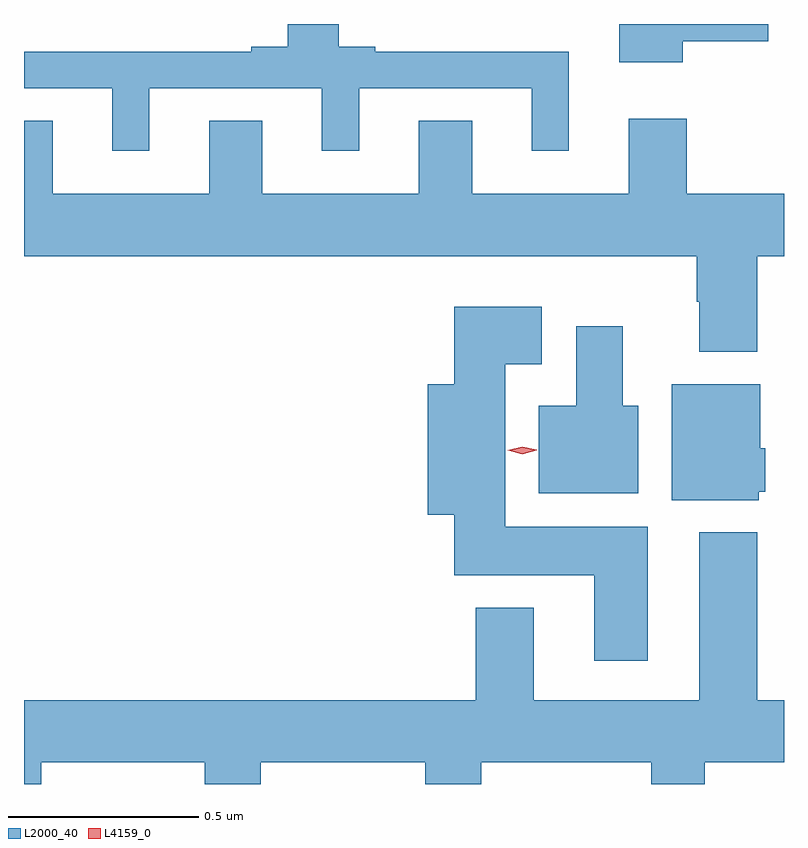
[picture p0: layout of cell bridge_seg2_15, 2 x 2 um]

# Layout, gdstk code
import gdstk
lib = gdstk.Library(unit=1e-6, precision=1e-09)
def P(c, l, *ps):  # polygons
    for p in ps: c.add(gdstk.Polygon(p, *l))
L2000_40 = (2000, 40)
L4159_0 = (4159, 0)

bridge_seg2_15 = lib.new_cell('bridge_seg2_15')
P(bridge_seg2_15, L2000_40, [(761.062,625.434),(761.516,625.434),(761.516,625.269),(761.614,625.269),(761.614,625.434),(762.068,625.434),(762.068,625.269),(762.166,625.269),(762.166,625.53),(761.656,625.53),(761.656,625.543),(761.56,625.543),(761.56,625.603),(761.426,625.603),(761.426,625.543),(761.33,625.543),(761.33,625.53),(760.732,625.53),(760.732,625.434),(760.964,625.434),(760.964,625.269),(761.062,625.269)],
  [(762.466,625.558),(762.691,625.558),(762.691,625.603),(762.299,625.603),(762.299,625.503),(762.466,625.503)],
  [(762.662,624.992),(762.732,624.992),(762.732,625.156),(762.476,625.156),(762.476,625.354),(762.323,625.354),(762.323,625.156),(761.911,625.156),(761.911,625.349),(761.771,625.349),(761.771,625.156),(761.359,625.156),(761.359,625.349),(761.219,625.349),(761.219,625.156),(760.807,625.156),(760.807,625.349),(760.732,625.349),(760.732,624.992),(762.502,624.992),(762.502,624.872),(762.509,624.872),(762.509,624.74),(762.662,624.74)],
  [(762.373,624.28),(761.998,624.28),(761.998,624.707),(762.094,624.707),(762.094,624.859),(761.864,624.859),(761.864,624.655),(761.795,624.655),(761.795,624.311),(761.864,624.311),(761.864,624.152),(762.233,624.152),(762.233,623.928),(762.373,623.928)],
  [(762.349,624.598),(762.307,624.598),(762.307,624.808),(762.185,624.808),(762.185,624.598),(762.086,624.598),(762.086,624.368),(762.349,624.368)],
  [(762.666,624.372),(762.682,624.372),(762.682,624.486),(762.67,624.486),(762.67,624.655),(762.437,624.655),(762.437,624.35),(762.666,624.35)],
  [(760.777,623.66),(761.207,623.66),(761.207,623.603),(761.355,623.603),(761.355,623.66),(761.788,623.66),(761.788,623.603),(761.935,623.603),(761.935,623.66),(762.383,623.66),(762.383,623.603),(762.523,623.603),(762.523,623.66),(762.732,623.66),(762.732,623.824),(762.662,623.824),(762.662,624.265),(762.509,624.265),(762.509,623.824),(762.073,623.824),(762.073,624.067),(761.921,624.067),(761.921,623.824),(760.732,623.824),(760.732,623.603),(760.777,623.603)])
P(bridge_seg2_15, L4159_0, [(762.043,624.471),(762.005,624.481),(762.005,624.481),(762.005,624.481),(762.043,624.491),(762.081,624.482),(762.081,624.482),(762.081,624.481)])

lib.write_gds('bridge_seg2_15.gds')
